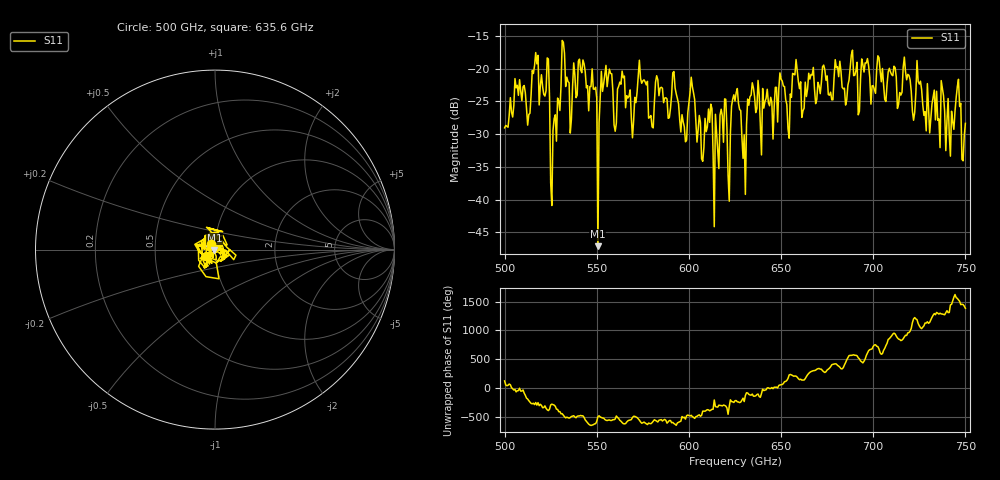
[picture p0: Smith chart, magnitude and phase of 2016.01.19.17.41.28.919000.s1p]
!Created with skrf (http://scikit-rf.org).
# GHz S RI R 50.0
!freq ReS11 ImS11
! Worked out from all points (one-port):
!   401 points, 500 GHz to 750 GHz, reference 50 ohm
!   lowest |S11| = -47.1 dB at 550.6 GHz (marker M1), VSWR 1.01, Z = 49.7 - j0.316 ohm
!   |S11| at or under -10 dB: start of sweep to end of sweep
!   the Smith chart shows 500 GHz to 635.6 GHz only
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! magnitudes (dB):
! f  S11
! 500 GHz  -29.1
! 506.9 GHz  -22.6
! 513.1 GHz  -27.0
! 516.9 GHz  -17.6
! 523.1 GHz  -18.4
! 526.2 GHz  -29.4
! 531.2 GHz  -15.7
! 548.1 GHz  -23.1
! 550.6 GHz  -47.1
! 553.8 GHz  -22.3
! 562.5 GHz  -22.1
! 593.8 GHz  -24.6
! 598.1 GHz  -31.2
! 601.9 GHz  -22.8
! 608.1 GHz  -32.1
! 611.2 GHz  -28.2
! 615 GHz  -29.7
! 618.8 GHz  -31.2
! 621.9 GHz  -40.3
! 625 GHz  -24.9
! 630 GHz  -30.1
! 634.4 GHz  -22.2
! 656.2 GHz  -20.7
! 687.5 GHz  -19.9
! 718.8 GHz  -20.9
! 740.6 GHz  -24.6
! 746.2 GHz  -21.6
! 750 GHz  -28.4
